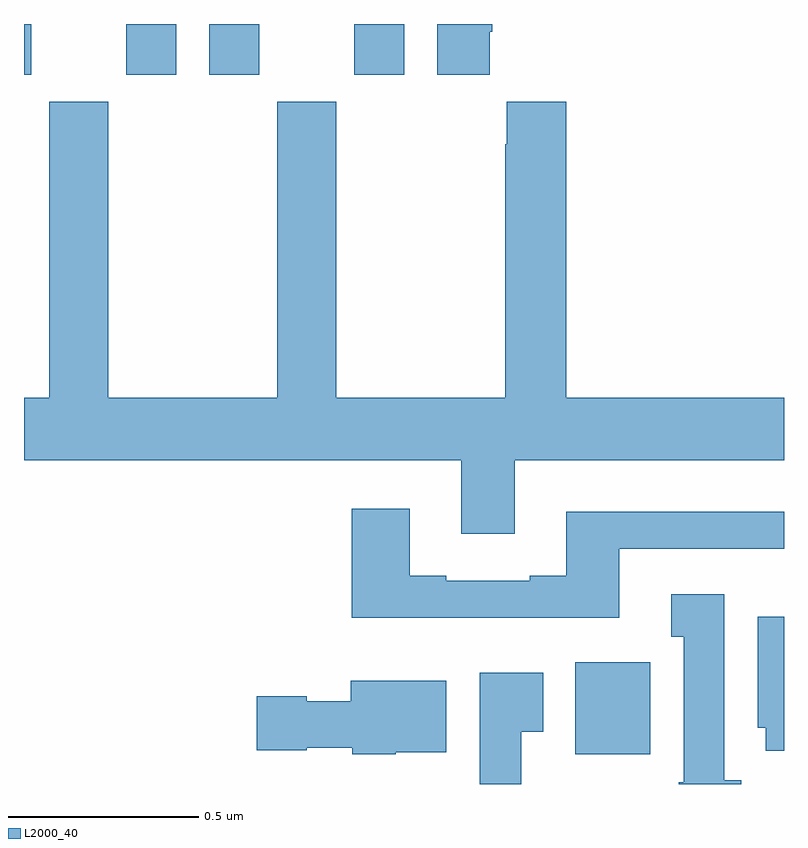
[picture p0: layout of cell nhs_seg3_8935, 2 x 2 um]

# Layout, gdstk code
import gdstk
lib = gdstk.Library(unit=1e-6, precision=1e-09)
def R(c, l, rs):  # rectangles x0, y0, x1, y1
    for r in rs: c.add(gdstk.rectangle(r[:2], r[2:], *l))
def P(c, l, *ps):  # polygons
    for p in ps: c.add(gdstk.Polygon(p, *l))
L2000_40 = (2000, 40)

nhs_seg3_8935 = lib.new_cell('nhs_seg3_8935')
R(nhs_seg3_8935, L2000_40, [(223.451,697.478,223.648,697.72), (222,699.267,222.019,699.4), (222.269,699.267,222.4,699.4), (222.488,699.267,222.619,699.4), (222.869,699.267,223,699.4)])
P(nhs_seg3_8935, L2000_40, [(223.225,699.379),(223.232,699.379),(223.232,699.4),(223.088,699.4),(223.088,699.267),(223.225,699.267)],
  [(223.291,698.252),(224,698.252),(224,698.416),(223.427,698.416),(223.427,699.196),(223.271,699.196),(223.271,699.083),(223.267,699.083),(223.267,698.416),(222.822,698.416),(222.822,699.196),(222.667,699.196),(222.667,698.416),(222.222,698.416),(222.222,699.196),(222.067,699.196),(222.067,698.416),(222,698.416),(222,698.252),(223.151,698.252),(223.151,698.058),(223.291,698.058)],
  [(223.567,698.019),(224,698.019),(224,698.116),(223.427,698.116),(223.427,697.948),(223.331,697.948),(223.331,697.935),(223.111,697.935),(223.111,697.948),(223.015,697.948),(223.015,698.125),(222.863,698.125),(222.863,697.838),(223.567,697.838)],
  [(223.888,697.41),(223.843,697.41),(223.843,697.9),(223.703,697.9),(223.703,697.787),(223.736,697.787),(223.736,697.404),(223.723,697.404),(223.723,697.4),(223.888,697.4)],
  [(224,697.84),(223.931,697.84),(223.931,697.548),(223.952,697.548),(223.952,697.488),(224,697.488)],
  [(223.309,697.537),(223.366,697.537),(223.366,697.693),(223.199,697.693),(223.199,697.4),(223.309,697.4)],
  [(222.978,697.484),(223.111,697.484),(223.111,697.672),(222.86,697.672),(222.86,697.618),(222.744,697.618),(222.744,697.631),(222.612,697.631),(222.612,697.489),(222.744,697.489),(222.744,697.496),(222.864,697.496),(222.864,697.478),(222.978,697.478)])

lib.write_gds('nhs_seg3_8935.gds')
